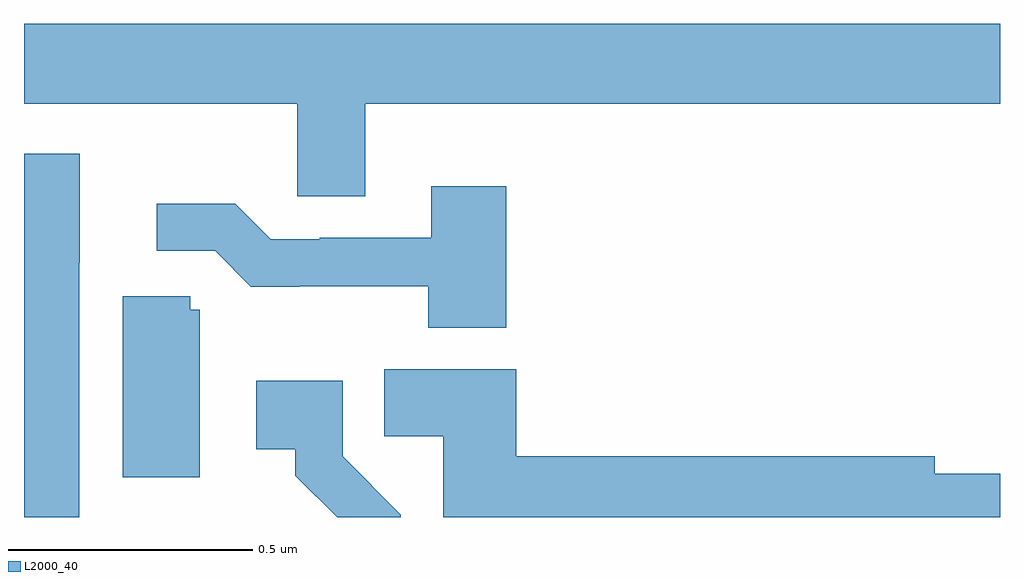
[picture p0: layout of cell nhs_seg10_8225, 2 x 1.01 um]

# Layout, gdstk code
import gdstk
lib = gdstk.Library(unit=1e-6, precision=1e-09)
def P(c, l, *ps):  # polygons
    for p in ps: c.add(gdstk.Polygon(p, *l))
L2000_40 = (2000, 40)

nhs_seg10_8225 = lib.new_cell('nhs_seg10_8225')
P(nhs_seg10_8225, L2000_40, [(214.699,1268.348),(216,1268.348),(216,1268.512),(214,1268.512),(214,1268.348),(214.56,1268.348),(214.56,1268.158),(214.699,1268.158)],
  [(214.113,1268.022),(214.114,1268.022),(214.114,1268.245),(214,1268.245),(214,1267.5),(214.113,1267.5)],
  [(214.988,1268.179),(214.835,1268.179),(214.835,1268.073),(214.606,1268.073),(214.606,1268.07),(214.506,1268.07),(214.433,1268.143),(214.272,1268.143),(214.272,1268.046),(214.392,1268.046),(214.465,1267.973),(214.564,1267.973),(214.564,1267.974),(214.828,1267.974),(214.828,1267.889),(214.988,1267.889)],
  [(214.36,1267.926),(214.341,1267.926),(214.341,1267.953),(214.202,1267.953),(214.202,1267.582),(214.36,1267.582)],
  [(216,1267.589),(215.866,1267.589),(215.866,1267.625),(215.009,1267.625),(215.009,1267.804),(214.738,1267.804),(214.738,1267.666),(214.859,1267.666),(214.859,1267.5),(216,1267.5)],
  [(214.772,1267.506),(214.653,1267.625),(214.653,1267.78),(214.476,1267.78),(214.476,1267.64),(214.556,1267.64),(214.556,1267.585),(214.642,1267.5),(214.772,1267.5)])

lib.write_gds('nhs_seg10_8225.gds')
